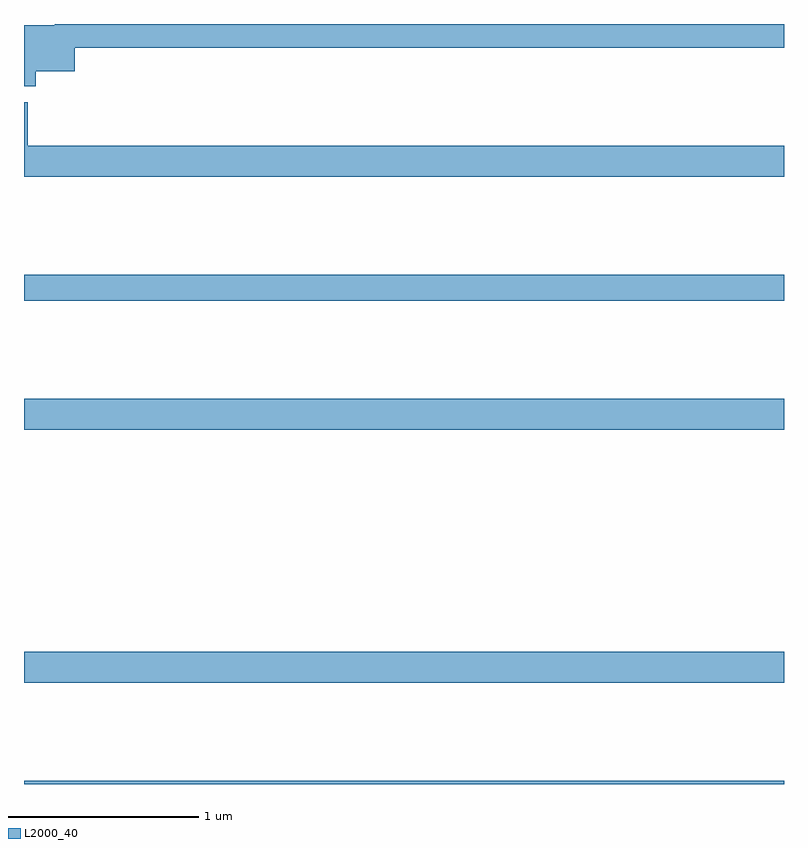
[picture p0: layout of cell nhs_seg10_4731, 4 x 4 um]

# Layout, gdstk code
import gdstk
lib = gdstk.Library(unit=1e-6, precision=1e-09)
def R(c, l, rs):  # rectangles x0, y0, x1, y1
    for r in rs: c.add(gdstk.rectangle(r[:2], r[2:], *l))
def P(c, l, *ps):  # polygons
    for p in ps: c.add(gdstk.Polygon(p, *l))
L2000_40 = (2000, 40)

nhs_seg10_4731 = lib.new_cell('nhs_seg10_4731')
R(nhs_seg10_4731, L2000_40, [(383,1250.5,387,1250.516), (383,1251.032,387,1251.196), (383,1252.364,387,1252.528), (383,1253.044,387,1253.18)])
P(nhs_seg10_4731, L2000_40, [(383.063,1254.251),(383.266,1254.251),(383.266,1254.376),(387,1254.376),(387,1254.5),(383.162,1254.5),(383.162,1254.493),(383,1254.493),(383,1254.173),(383.063,1254.173)],
  [(387,1253.86),(383.021,1253.86),(383.021,1254.088),(383,1254.088),(383,1253.696),(387,1253.696)])

lib.write_gds('nhs_seg10_4731.gds')
